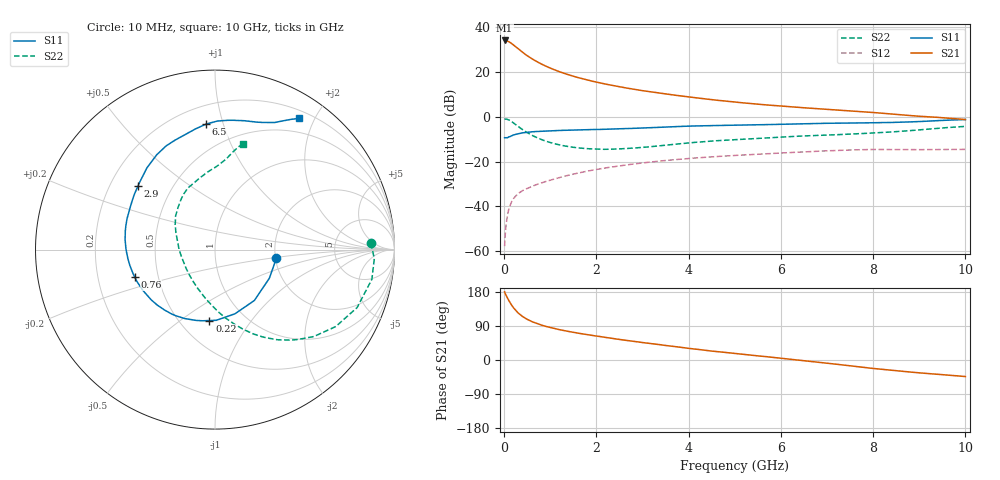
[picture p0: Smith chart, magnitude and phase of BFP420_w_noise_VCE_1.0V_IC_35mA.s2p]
! Infineon Technologies  Discrete & RF Semiconductors
! BFP420
! VCE =  1.0 V,  IC =  35 mA
! Common Emitter S-Parameters:  Jan 2016
# GHz  S  MA  R  50
!  f  S11  S21  S12  S22
! GHz  MAG  ANG  MAG  ANG  MAG  ANG  MAG  ANG
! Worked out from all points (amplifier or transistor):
!   233 points, 10 MHz to 10 GHz, reference 50 ohm
!   highest |S21| = 34.1 dB at 10 MHz (marker M1)
!   |S21| within 3 dB of that: start of sweep to 260 MHz
!   unconditionally stable (mu >= 1): start of sweep to 17.37 MHz; 1.281 GHz to end of sweep
!   at 200 MHz: K = 0.37, MSG = 34.3 dB, |S12| = -36.6 dB
!   at 1.74 GHz: K = 1.08, MAG = 18.9 dB, |S12| = -24.5 dB
!   at 10 GHz: K = 1.05, MAG = 5.3 dB, |S12| = -14.5 dB
!   lowest NFmin = 1.64 dB at 900 MHz
!   S11 on the Smith chart (normalised r, x): 10 MHz: 2.00, -0.22; 220 MHz: 0.69, -0.65; 760 MHz: 0.37, -0.14; 2.9 GHz: 0.32, +0.33; 6.5 GHz: 0.32, +0.88; 10 GHz: 0.30, +1.79
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0.01  0.3414 -8.3  50.42 179.7  0.0013 92.6  0.87 2.4
0.02  0.3411 -12.3  50.02 175.9  0.0021 94.7  0.889 -3.3
0.05  0.3424 -27.8  49.64 168.6  0.0045 85.0  0.8896 -10.7
0.1  0.3585 -52.3  47.58 157.1  0.0086 75.8  0.8551 -22.2
0.15  0.3746 -72.7  44.07 146.9  0.012 70.3  0.7979 -32.5
0.2  0.3939 -88.9  40.26 138.2  0.0148 65.8  0.7336 -41.3
0.22  0.3964 -94.5  38.64 135.4  0.0157 64.3  0.707 -44.1
0.26  0.4083 -104.9  35.7 129.6  0.0175 61.8  0.6582 -50.0
0.32  0.4233 -117.3  31.8 122.5  0.0199 59.3  0.5905 -57.3
0.4  0.4386 -129.9  27.36 114.7  0.0225 57.2  0.5156 -65.6
0.45  0.4462 -136.2  25.04 110.8  0.0239 56.4  0.4763 -69.9
0.6  0.462 -150.7  19.71 101.3  0.028 55.6  0.3876 -81.0
0.76  0.4727 -161.3  15.93 94.2  0.0323 55.7  0.3256 -90.5
1.2  0.496 179.7  10.12 80.0  0.0442 55.6  0.236 -114.2
1.68  0.513 166.2  7.138 69.3  0.0577 53.8  0.1993 -136.8
2.9  0.557 140.3  3.974 47.8  0.0911 44.0  0.2037 175.6
3.4  0.5858 131.4  3.338 40.1  0.1035 39.1  0.227 161.0
5.1  0.6514 108.9  2.08 16.0  0.1391 22.5  0.3122 131.3
6.5  0.7013 94.0  1.589 -1.9  0.1647 9.3  0.3747 113.9
6.8  0.7097 90.9  1.515 -5.7  0.1702 6.2  0.3835 109.9
8.4  0.7473 71.9  1.15 -27.3  0.1858 -12.1  0.4586 89.8
10  0.8687 57.3  0.867 -43.7  0.1874 -24.3  0.611 75.3
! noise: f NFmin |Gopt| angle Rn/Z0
0.9  1.64  0.3  -155  0.13
1.8  1.9  0.37  -142  0.15
2.4  2.1  0.34  -134  0.19
3  2.11  0.4  -126  0.22
4  2.25  0.5  -110  0.35
5  2.73  0.54  -94  0.59
6  3.16  0.59  -82  0.84
